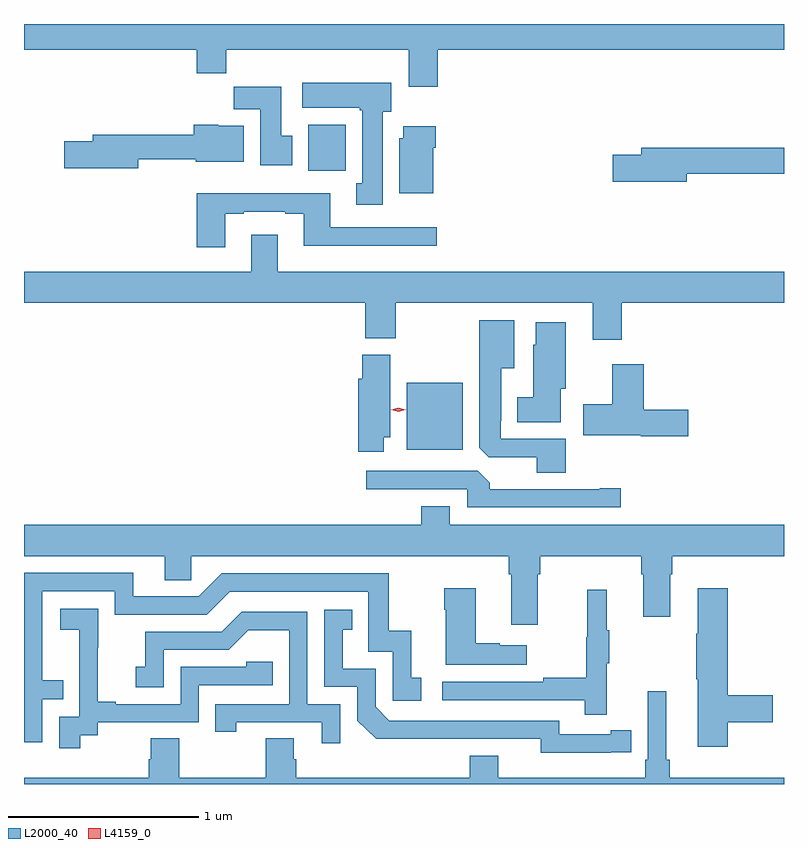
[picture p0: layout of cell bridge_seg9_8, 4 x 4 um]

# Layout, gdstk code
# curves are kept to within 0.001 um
import gdstk
lib = gdstk.Library(unit=1e-6, precision=1e-09)
def R(c, l, rs):  # rectangles x0, y0, x1, y1
    for r in rs: c.add(gdstk.rectangle(r[:2], r[2:], *l))
def P(c, l, *ps):  # polygons
    for p in ps: c.add(gdstk.Polygon(p, *l))
L2000_40 = (2000, 40)
L4159_0 = (4159, 0)

bridge_seg9_8 = lib.new_cell('bridge_seg9_8')
R(bridge_seg9_8, L2000_40, [(1022.504,1243.598,1022.797,1243.951), (1021.985,1245.068,1022.182,1245.31)])
P(bridge_seg9_8, L2000_40, [(1020.489,1245.704),(1021.397,1245.704),(1021.397,1245.58),(1021.553,1245.58),(1021.553,1245.704),(1022.513,1245.704),(1022.513,1245.51),(1022.666,1245.51),(1022.666,1245.704),(1024.489,1245.704),(1024.489,1245.84),(1020.489,1245.84)],
  [(1022.377,1245.378),(1022.422,1245.378),(1022.422,1245.532),(1021.953,1245.532),(1021.953,1245.398),(1022.257,1245.398),(1022.257,1245.385),(1022.27,1245.385),(1022.27,1245.002),(1022.237,1245.002),(1022.237,1244.889),(1022.377,1244.889)],
  [(1021.9,1245.252),(1021.843,1245.252),(1021.843,1245.511),(1021.594,1245.511),(1021.594,1245.392),(1021.733,1245.392),(1021.733,1245.096),(1021.9,1245.096)],
  [(1021.09,1245.127),(1021.394,1245.127),(1021.394,1245.116),(1021.645,1245.116),(1021.645,1245.304),(1021.512,1245.304),(1021.512,1245.31),(1021.382,1245.31),(1021.382,1245.256),(1020.851,1245.256),(1020.851,1245.222),(1020.702,1245.222),(1020.702,1245.08),(1021.09,1245.08)],
  [(1022.644,1245.188),(1022.657,1245.188),(1022.657,1245.301),(1022.486,1245.301),(1022.486,1245.24),(1022.465,1245.24),(1022.465,1244.948),(1022.644,1244.948)],
  [(1023.976,1245.052),(1024.489,1245.052),(1024.489,1245.188),(1023.737,1245.188),(1023.737,1245.152),(1023.588,1245.152),(1023.588,1245.01),(1023.976,1245.01)],
  [(1021.549,1244.841),(1021.645,1244.841),(1021.645,1244.853),(1021.865,1244.853),(1021.865,1244.841),(1021.961,1244.841),(1021.961,1244.672),(1022.662,1244.672),(1022.662,1244.769),(1022.101,1244.769),(1022.101,1244.95),(1021.397,1244.95),(1021.397,1244.664),(1021.549,1244.664)],
  [(1023.635,1244.372),(1024.489,1244.372),(1024.489,1244.536),(1021.825,1244.536),(1021.825,1244.731),(1021.685,1244.731),(1021.685,1244.536),(1020.489,1244.536),(1020.489,1244.372),(1022.285,1244.372),(1022.285,1244.185),(1022.445,1244.185),(1022.445,1244.372),(1023.482,1244.372),(1023.482,1244.178),(1023.635,1244.178)],
  [(1023.341,1243.656),(1022.997,1243.656),(1022.997,1243.753),(1023.001,1243.753),(1023.001,1244.027),(1023.07,1244.027),(1023.07,1244.281),(1022.885,1244.281),(1022.885,1243.609),(1022.934,1243.56),(1023.188,1243.56),(1023.188,1243.477),(1023.341,1243.477)],
  [(1023.313,1243.92),(1023.34,1243.92),(1023.34,1244.269),(1023.182,1244.269),(1023.182,1244.151),(1023.17,1244.151),(1023.17,1243.876),(1023.086,1243.876),(1023.086,1243.745),(1023.313,1243.745)],
  [(1022.383,1243.664),(1022.416,1243.664),(1022.416,1244.1),(1022.27,1244.1),(1022.27,1243.974),(1022.249,1243.974),(1022.249,1243.59),(1022.383,1243.59)],
  [(1023.985,1243.811),(1023.752,1243.811),(1023.752,1244.05),(1023.584,1244.05),(1023.584,1243.839),(1023.432,1243.839),(1023.432,1243.676),(1023.735,1243.676),(1023.735,1243.669),(1023.985,1243.669)],
  [(1023.631,1243.397),(1023.518,1243.397),(1023.518,1243.392),(1022.939,1243.392),(1022.939,1243.426),(1022.877,1243.488),(1022.289,1243.488),(1022.289,1243.392),(1022.823,1243.392),(1022.823,1243.296),(1023.631,1243.296)],
  [(1022.731,1243.303),(1022.579,1243.303),(1022.579,1243.204),(1020.489,1243.204),(1020.489,1243.04),(1021.229,1243.04),(1021.229,1242.913),(1021.368,1242.913),(1021.368,1243.04),(1023.041,1243.04),(1023.041,1242.944),(1023.053,1242.944),(1023.053,1242.678),(1023.193,1242.678),(1023.193,1242.944),(1023.206,1242.944),(1023.206,1243.04),(1023.737,1243.04),(1023.737,1242.944),(1023.749,1242.944),(1023.749,1242.72),(1023.889,1242.72),(1023.889,1242.944),(1023.902,1242.944),(1023.902,1243.04),(1024.489,1243.04),(1024.489,1243.204),(1022.731,1243.204)],
  [(1020.585,1242.285),(1020.695,1242.285),(1020.695,1242.386),(1020.585,1242.386),(1020.585,1242.855),(1020.966,1242.855),(1020.966,1242.732),(1021.452,1242.732),(1021.572,1242.852),(1022.301,1242.852),(1022.301,1242.537),(1022.43,1242.537),(1022.43,1242.279),(1022.581,1242.279),(1022.581,1242.399),(1022.528,1242.399),(1022.528,1242.646),(1022.41,1242.646),(1022.41,1242.948),(1021.53,1242.948),(1021.41,1242.828),(1021.063,1242.828),(1021.063,1242.951),(1020.489,1242.951),(1020.489,1242.06),(1020.585,1242.06)],
  [(1023.136,1242.571),(1022.993,1242.571),(1022.993,1242.581),(1022.866,1242.581),(1022.866,1242.871),(1022.701,1242.871),(1022.701,1242.758),(1022.708,1242.758),(1022.708,1242.467),(1023.136,1242.467)],
  [(1024.193,1242.166),(1024.429,1242.166),(1024.429,1242.308),(1024.193,1242.308),(1024.193,1242.871),(1024.034,1242.871),(1024.034,1242.632),(1024.027,1242.632),(1024.027,1242.391),(1024.034,1242.391),(1024.034,1242.036),(1024.193,1242.036)],
  [(1023.557,1242.475),(1023.568,1242.475),(1023.568,1242.649),(1023.557,1242.649),(1023.557,1242.862),(1023.454,1242.862),(1023.454,1242.612),(1023.447,1242.612),(1023.447,1242.398),(1023.223,1242.398),(1023.223,1242.378),(1022.691,1242.378),(1022.691,1242.282),(1023.439,1242.282),(1023.439,1242.204),(1023.557,1242.204)],
  [(1020.784,1242.097),(1020.876,1242.097),(1020.876,1242.165),(1021.41,1242.165),(1021.41,1242.36),(1021.799,1242.36),(1021.799,1242.483),(1021.659,1242.483),(1021.659,1242.456),(1021.314,1242.456),(1021.314,1242.261),(1020.973,1242.261),(1020.973,1242.274),(1020.878,1242.274),(1020.878,1242.557),(1020.879,1242.557),(1020.879,1242.763),(1020.681,1242.763),(1020.681,1242.653),(1020.779,1242.653),(1020.779,1242.425),(1020.78,1242.425),(1020.78,1242.195),(1020.675,1242.195),(1020.675,1242.027),(1020.784,1242.027)],
  [(1023.578,1242.006),(1023.686,1242.006),(1023.686,1242.122),(1023.578,1242.122),(1023.578,1242.102),(1023.306,1242.102),(1023.306,1242.174),(1022.412,1242.174),(1022.34,1242.246),(1022.34,1242.447),(1022.167,1242.447),(1022.167,1242.651),(1022.216,1242.651),(1022.216,1242.757),(1022.07,1242.757),(1022.07,1242.351),(1022.244,1242.351),(1022.244,1242.174),(1022.342,1242.077),(1023.21,1242.078),(1023.21,1242.005)],
  [(1022.154,1242.261),(1021.98,1242.261),(1021.98,1242.747),(1021.634,1242.747),(1021.529,1242.642),(1021.126,1242.642),(1021.126,1242.457),(1021.077,1242.457),(1021.077,1242.348),(1021.224,1242.348),(1021.224,1242.546),(1021.566,1242.546),(1021.67,1242.65),(1021.884,1242.65),(1021.884,1242.261),(1021.495,1242.261),(1021.495,1242.114),(1021.606,1242.114),(1021.606,1242.165),(1022.057,1242.165),(1022.057,1242.054),(1022.154,1242.054)],
  [(1024.489,1241.872),(1023.887,1241.872),(1023.887,1241.968),(1023.868,1241.968),(1023.868,1242.328),(1023.771,1242.328),(1023.771,1241.968),(1023.758,1241.968),(1023.758,1241.872),(1022.986,1241.872),(1022.986,1241.989),(1022.834,1241.989),(1022.834,1241.872),(1021.922,1241.872),(1021.922,1241.97),(1021.909,1241.97),(1021.909,1242.08),(1021.762,1242.08),(1021.762,1241.872),(1021.305,1241.872),(1021.305,1242.08),(1021.157,1242.08),(1021.157,1241.97),(1021.145,1241.97),(1021.145,1241.872),(1020.489,1241.872),(1020.489,1241.84),(1024.489,1241.84)])
P(bridge_seg9_8, L4159_0, [(1022.459,1243.799),(1022.421,1243.809),(1022.421,1243.809),(1022.421,1243.809),(1022.459,1243.819),(1022.497,1243.809),(1022.497,1243.809),(1022.497,1243.809)])

lib.write_gds('bridge_seg9_8.gds')
